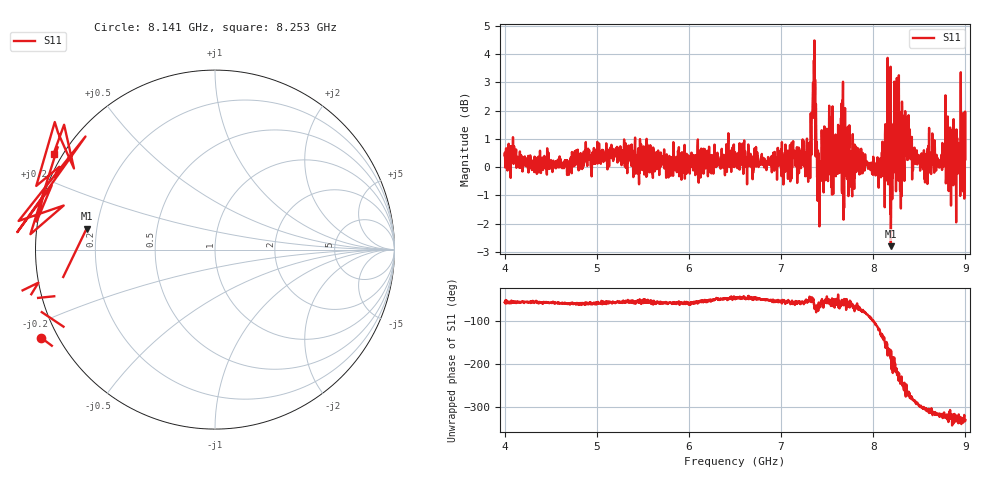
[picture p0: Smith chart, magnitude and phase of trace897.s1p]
! Created with skrf 1.8.0 (http://scikit-rf.org).
# Hz S RI R 50.0
!freq ReS11 ImS11
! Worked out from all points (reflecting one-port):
!   1601 points, 4 GHz to 9 GHz, reference 50 ohm
!   lowest |S11| = -2.8 dB at 8.191 GHz (marker M1), VSWR 6.28, Z = 8.01 + j3.92 ohm
!   phase of S11 starts at -58 deg and turns -272 deg over the sweep
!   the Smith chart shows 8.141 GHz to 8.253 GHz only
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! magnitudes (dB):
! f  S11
! 4 GHz  0.4
! 4.625 GHz  0.0
! 5.25 GHz  0.3
! 5.875 GHz  0.2
! 6.5 GHz  0.5
! 7.125 GHz  0.6
! 7.294 GHz  -0.5
! 7.347 GHz  3.0
! 7.356 GHz  3.8
! 7.409 GHz  0.1
! 7.538 GHz  1.3
! 7.591 GHz  1.2
! 7.65 GHz  1.7
! 7.703 GHz  0.3
! 7.75 GHz  0.5
! 8.066 GHz  0.2
! 8.156 GHz  3.9
! 8.191 GHz  -2.8
! 8.216 GHz  0.9
! 8.253 GHz  0.4
! 8.312 GHz  2.3
! 8.334 GHz  0.3
! 8.375 GHz  0.7
! 8.562 GHz  -0.5
! 8.784 GHz  2.5
! 8.875 GHz  0.3
! 8.959 GHz  1.8
! 9 GHz  0.3
